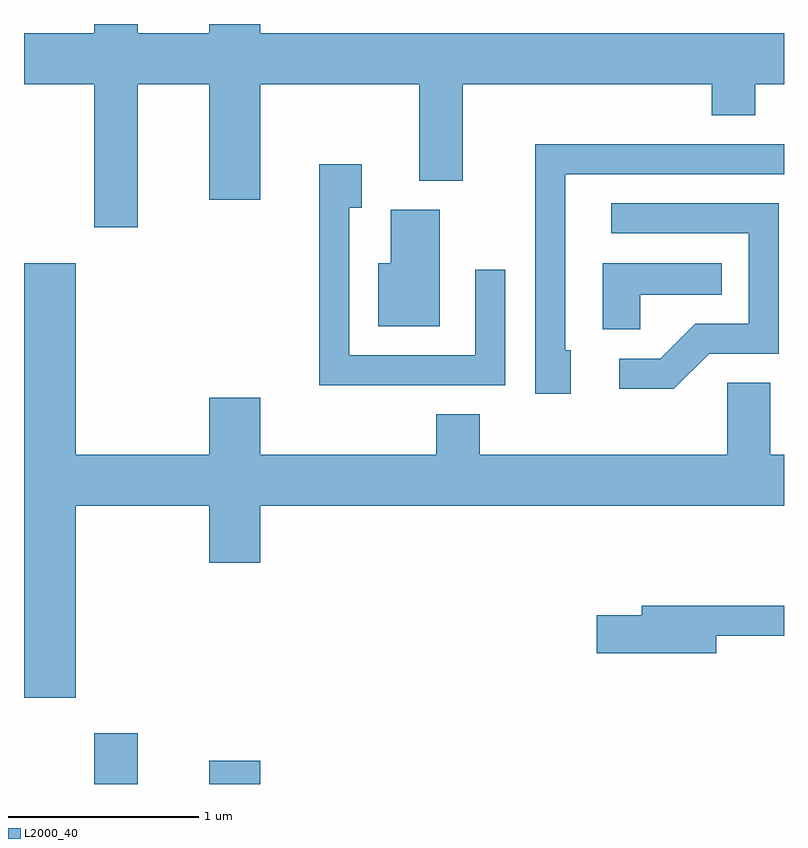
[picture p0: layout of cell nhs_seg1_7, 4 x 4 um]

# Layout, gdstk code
import gdstk
lib = gdstk.Library(unit=1e-6, precision=1e-09)
def R(c, l, rs):  # rectangles x0, y0, x1, y1
    for r in rs: c.add(gdstk.rectangle(r[:2], r[2:], *l))
def P(c, l, *ps):  # polygons
    for p in ps: c.add(gdstk.Polygon(p, *l))
L2000_40 = (2000, 40)

nhs_seg1_7 = lib.new_cell('nhs_seg1_7')
R(nhs_seg1_7, L2000_40, [(185.981,853.712,186.209,853.979), (186.586,853.712,186.854,853.834)])
P(nhs_seg1_7, L2000_40, [(186.209,857.396),(186.586,857.396),(186.586,856.786),(186.854,856.786),(186.854,857.396),(187.691,857.396),(187.691,856.886),(187.919,856.886),(187.919,857.396),(189.231,857.396),(189.231,857.231),(189.459,857.231),(189.459,857.396),(189.611,857.396),(189.611,857.664),(186.854,857.664),(186.854,857.712),(186.586,857.712),(186.586,857.664),(186.209,857.664),(186.209,857.712),(185.981,857.712),(185.981,857.664),(185.611,857.664),(185.611,857.396),(185.981,857.396),(185.981,856.641),(186.209,856.641)],
  [(188.489,855.994),(188.459,855.994),(188.459,856.921),(189.611,856.921),(189.611,857.079),(188.301,857.079),(188.301,855.766),(188.489,855.766)],
  [(188.144,856.418),(187.986,856.418),(187.986,855.969),(187.324,855.969),(187.324,856.746),(187.389,856.746),(187.389,856.974),(187.166,856.974),(187.166,855.811),(188.144,855.811)],
  [(189.217,855.976),(189.584,855.976),(189.584,856.769),(188.703,856.769),(188.703,856.611),(189.426,856.611),(189.426,856.134),(189.144,856.134),(188.959,855.949),(188.743,855.949),(188.743,855.791),(189.032,855.791)],
  [(187.799,856.734),(187.541,856.734),(187.541,856.454),(187.476,856.454),(187.476,856.121),(187.799,856.121)],
  [(188.854,856.286),(189.283,856.286),(189.283,856.454),(188.656,856.454),(188.656,856.106),(188.854,856.106)],
  [(185.884,855.176),(186.586,855.176),(186.586,854.876),(186.854,854.876),(186.854,855.176),(189.611,855.176),(189.611,855.444),(189.539,855.444),(189.539,855.824),(189.311,855.824),(189.311,855.444),(188.009,855.444),(188.009,855.659),(187.781,855.659),(187.781,855.444),(186.854,855.444),(186.854,855.744),(186.586,855.744),(186.586,855.444),(185.884,855.444),(185.884,856.454),(185.611,856.454),(185.611,854.166),(185.884,854.166)],
  [(189.254,854.491),(189.611,854.491),(189.611,854.649),(188.861,854.649),(188.861,854.599),(188.626,854.599),(188.626,854.401),(189.254,854.401)])

lib.write_gds('nhs_seg1_7.gds')
